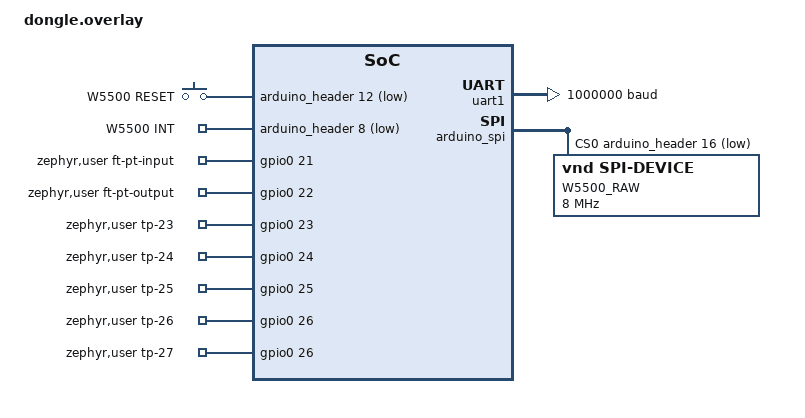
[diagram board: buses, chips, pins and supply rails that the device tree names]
/*
Enable uart1
*/

&uart1 {
	status="okay";
	/* current-speed= <921600>; */
	current-speed=<1000000>;
};

/* &eth_w5500 { */
/*   local-mac-address = [A8 61 0A AE 66 46]; */
/*   status = "okay"; */
/* }; */

// LEAN W5500 //

&arduino_spi {   /* SPI on nRF9151 DK Arduino header */
  status = "okay";
  cs-gpios = <&arduino_header 16 GPIO_ACTIVE_LOW>; /* D10 */

  w5500_dev: spi-dev@0 {
    compatible = "vnd,spi-device";   /* generic - no driver binds */
    reg = <0>;
    spi-max-frequency = <8000000>;   /* W5500 tolerates up to ~33-80 MHz */
    label = "W5500_RAW";
  };
};

/ {
  w5500_gpios {
    compatible = "gpio-keys";
    w5500_rst: w5500_rst {
      gpios = <&arduino_header 12 GPIO_ACTIVE_LOW>; /* D6 - reset */
      label = "W5500 RESET";
    };
    w5500_int: w5500_int {
      gpios = <&arduino_header 8 GPIO_ACTIVE_LOW>;  /* D2 - INT */
      label = "W5500 INT";
    };
  };
};

/ {
    zephyr,user {
        ft-pt-input-gpios = <&gpio0 21 GPIO_ACTIVE_HIGH>;
        ft-pt-output-gpios = <&gpio0 22 GPIO_ACTIVE_HIGH>;
        // 23 24 25 26 free
        tp-23-gpios = <&gpio0 23 GPIO_ACTIVE_HIGH>;
        tp-24-gpios = <&gpio0 24 GPIO_ACTIVE_HIGH>;
        tp-25-gpios = <&gpio0 25 GPIO_ACTIVE_HIGH>;
        tp-26-gpios = <&gpio0 26 GPIO_ACTIVE_HIGH>;
        tp-27-gpios = <&gpio0 26 GPIO_ACTIVE_HIGH>;
        /* tp-03-gpios = <&arduino_header 9 GPIO_ACTIVE_HIGH>; */
        /* tp-04-gpios = <&arduino_header 10 GPIO_ACTIVE_HIGH>; */
    };
};

